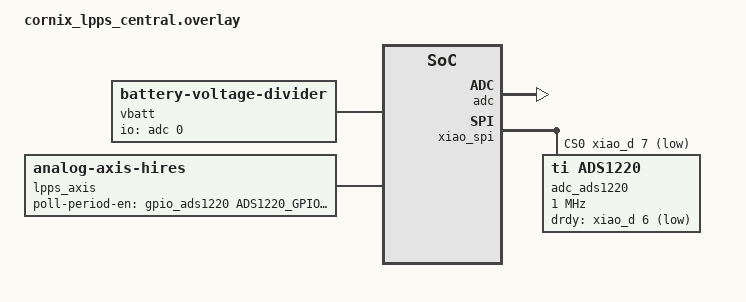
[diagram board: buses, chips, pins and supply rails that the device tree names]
#include <dt-bindings/gpio/gpio.h>
#include <dt-bindings/spi/spi.h>
#include <zephyr/dt-bindings/gpio/gpio_ads1220.h>
#include <zephyr/dt-bindings/input/input-event-codes.h>
#include "../../jzf/cornix/cornix_dongle_common.dtsi"

/ {
    chosen {
        zmk,battery = &vbatt;
    };

    vbatt: vbatt {
        compatible = "zmk,battery-voltage-divider";
        io-channels = <&adc 0>;
        output-ohms = <1000000>;
        full-ohms = <1000000>;
    };

    gpio_ads1220: gpio_ads1220 {
        compatible = "ti,ads1220-gpio";
        status = "okay";
        gpio-controller;
        #gpio-cells = <2>;
        dev-reg = <0>;
        idac-ua-high = <250>;
        idac-ua-low = <0>;
        skip-reg-write-high;
    };

    lpps_input: lpps_input {
        compatible = "zmk,input-listener";
        device = <&lpps_axis>;
    };

    lpps_axis: analog_axis_hires_0 {
        compatible = "analog-axis-hires";
        status = "okay";

        /*
         * Poll quickly while active, then slow down and finally power down the
         * ADS1220 between reads for dry-cell operation.
         */
        poll-period-downshift-ms = <8 5000 100 7000 0>;
        poll-period-en-gpios = <&gpio_ads1220 ADS1220_GPIO_PIN_EN GPIO_ACTIVE_HIGH>;

        axis-x {
            io-channels = <&adc_ads1220 0>;
            avdd-gpios = <&gpio_ads1220 ADS1220_GPIO_PIN_IDAC GPIO_ACTIVE_HIGH>;
            in-min = <(0 - 655300)>;
            in-max = <(0 + 655300)>;
            in-calib-cycle = <100>;
            in-deadzone-calib-scale-pctg = <110>;
            out-min = <(-127)>;
            out-max = <127>;
            skip-change-comparator;
            zephyr,axis-type = <INPUT_EV_REL>;
            zephyr,axis = <INPUT_REL_X>;
        };

        axis-y {
            io-channels = <&adc_ads1220 1>;
            avdd-gpios = <&gpio_ads1220 ADS1220_GPIO_PIN_IDAC GPIO_ACTIVE_HIGH>;
            in-min = <(0 - 655300)>;
            in-max = <(0 + 655300)>;
            in-calib-cycle = <100>;
            in-deadzone-calib-scale-pctg = <110>;
            out-min = <(-127)>;
            out-max = <127>;
            skip-change-comparator;
            zephyr,axis-type = <INPUT_EV_REL>;
            zephyr,axis = <INPUT_REL_Y>;
        };
    };
};

&adc {
    status = "okay";
};

&xiao_spi {
    compatible = "nordic,nrf-spim";
    status = "okay";
    cs-gpios = <&xiao_d 7 (GPIO_ACTIVE_LOW | GPIO_PULL_UP)>;

    adc_ads1220: adc_ads1220@0 {
        compatible = "ti,ads1220";
        status = "okay";
        spi-max-frequency = <1000000>;
        reg = <0>;
        #io-channel-cells = <1>;
        #address-cells = <1>;
        #size-cells = <0>;

        drdy-gpios = <&xiao_d 6 (GPIO_ACTIVE_LOW | GPIO_PULL_UP)>;

        adc_ads1220_ch0: channel@0 {
            reg = <0>;
            zephyr,resolution = <24>;
            zephyr,gain = "ADC_GAIN_64";
            zephyr,reference = "ADC_REF_EXTERNAL0";
            zephyr,acquisition-time = <330>;
            zephyr,input-positive = <0>;
            zephyr,input-negative = <2>;
            zephyr,current-source-pin = [05 00];
        };

        adc_ads1220_ch1: channel@1 {
            reg = <1>;
            zephyr,resolution = <24>;
            zephyr,gain = "ADC_GAIN_64";
            zephyr,reference = "ADC_REF_EXTERNAL0";
            zephyr,acquisition-time = <330>;
            zephyr,input-positive = <1>;
            zephyr,input-negative = <2>;
            zephyr,current-source-pin = [05 00];
        };
    };
};
